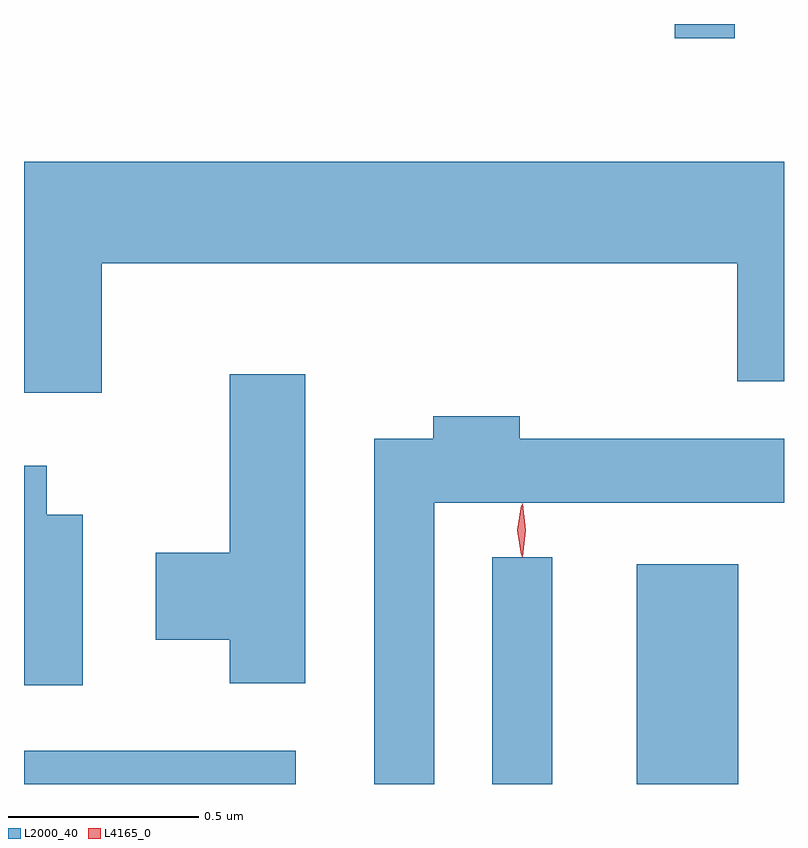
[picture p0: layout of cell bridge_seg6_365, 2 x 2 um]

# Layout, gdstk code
import gdstk
lib = gdstk.Library(unit=1e-6, precision=1e-09)
def R(c, l, rs):  # rectangles x0, y0, x1, y1
    for r in rs: c.add(gdstk.rectangle(r[:2], r[2:], *l))
def P(c, l, *ps):  # polygons
    for p in ps: c.add(gdstk.Polygon(p, *l))
L2000_40 = (2000, 40)
L4165_0 = (4165, 0)

bridge_seg6_365 = lib.new_cell('bridge_seg6_365')
R(bridge_seg6_365, L2000_40, [(1325.494,1559.766,1326.209,1559.854), (1326.726,1559.766,1326.884,1560.363), (1327.106,1559.766,1327.374,1560.344), (1327.206,1561.728,1327.364,1561.766)])
P(bridge_seg6_365, L2000_40, [(1325.699,1561.136),(1327.371,1561.136),(1327.371,1560.826),(1327.494,1560.826),(1327.494,1561.404),(1325.494,1561.404),(1325.494,1560.796),(1325.699,1560.796)],
  [(1326.234,1560.844),(1326.036,1560.844),(1326.036,1560.374),(1325.841,1560.374),(1325.841,1560.146),(1326.036,1560.146),(1326.036,1560.031),(1326.234,1560.031)],
  [(1326.574,1560.506),(1327.494,1560.506),(1327.494,1560.674),(1326.799,1560.674),(1326.799,1560.734),(1326.571,1560.734),(1326.571,1560.674),(1326.416,1560.674),(1326.416,1559.766),(1326.574,1559.766)],
  [(1325.649,1560.474),(1325.554,1560.474),(1325.554,1560.604),(1325.494,1560.604),(1325.494,1560.026),(1325.649,1560.026)])
P(bridge_seg6_365, L4165_0, [(1326.805,1560.364),(1326.805,1560.364),(1326.795,1560.434),(1326.805,1560.503),(1326.805,1560.503),(1326.806,1560.503),(1326.815,1560.434),(1326.806,1560.364)],
  [(1326.803,1560.367),(1326.802,1560.368),(1326.792,1560.434),(1326.802,1560.5),(1326.802,1560.5),(1326.803,1560.5),(1326.812,1560.434),(1326.803,1560.368)])

lib.write_gds('bridge_seg6_365.gds')
